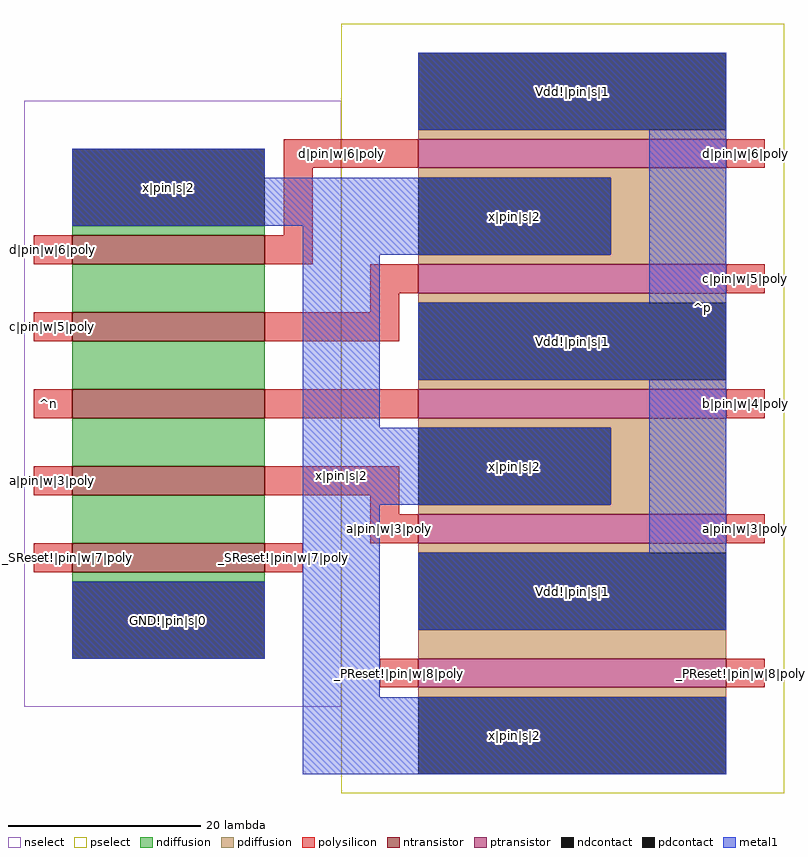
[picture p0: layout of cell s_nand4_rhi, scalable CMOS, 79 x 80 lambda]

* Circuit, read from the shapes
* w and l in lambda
.subckt s_nand4_rhi GND!|pin|s|0 Vdd!|pin|s|1 _PReset!|pin|w|8|poly _SReset!|pin|w|7|poly a|pin|w|3|poly b|pin|w|4|poly c|pin|w|5|poly d|pin|w|6|poly x|pin|s|2
M1 n1 _SReset!|pin|w|7|poly GND!|pin|s|0 VSUBS nfet w=20 l=3
M2 n2 a|pin|w|3|poly n1 VSUBS nfet w=20 l=3
M3 n3 b|pin|w|4|poly n2 VSUBS nfet w=20 l=3
M4 n4 c|pin|w|5|poly n3 VSUBS nfet w=20 l=3
M5 x|pin|s|2 d|pin|w|6|poly n4 VSUBS nfet w=20 l=3
M6 Vdd!|pin|s|1 _PReset!|pin|w|8|poly x|pin|s|2 NWELL pfet w=32 l=3
M7 x|pin|s|2 a|pin|w|3|poly Vdd!|pin|s|1 NWELL pfet w=32 l=3
M8 Vdd!|pin|s|1 b|pin|w|4|poly x|pin|s|2 NWELL pfet w=32 l=3
M9 x|pin|s|2 c|pin|w|5|poly Vdd!|pin|s|1 NWELL pfet w=32 l=3
M10 Vdd!|pin|s|1 d|pin|w|6|poly x|pin|s|2 NWELL pfet w=32 l=3
.ends

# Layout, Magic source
magic
tech scmos
<< nselect >>
rect -33 27 0 90
<< pselect >>
rect 0 18 46 98
<< ndiffusion >>
rect -28 76 -8 77
rect -28 68 -8 73
rect -28 60 -8 65
rect -28 52 -8 57
rect -28 44 -8 49
rect -28 40 -8 41
<< pdiffusion >>
rect 8 86 40 87
rect 8 82 40 83
rect 28 74 40 82
rect 8 73 40 74
rect 8 69 40 70
rect 8 60 40 61
rect 8 56 40 57
rect 28 48 40 56
rect 8 47 40 48
rect 8 43 40 44
rect 8 32 40 35
rect 8 28 40 29
<< ntransistor >>
rect -28 73 -8 76
rect -28 65 -8 68
rect -28 57 -8 60
rect -28 49 -8 52
rect -28 41 -8 44
<< ptransistor >>
rect 8 83 40 86
rect 8 70 40 73
rect 8 57 40 60
rect 8 44 40 47
rect 8 29 40 32
<< polysilicon >>
rect -6 83 8 86
rect 40 83 44 86
rect -6 76 -3 83
rect -32 73 -28 76
rect -8 73 -3 76
rect 3 70 8 73
rect 40 70 44 73
rect 3 68 6 70
rect -32 65 -28 68
rect -8 65 6 68
rect -32 57 -28 60
rect -8 57 8 60
rect 40 57 44 60
rect -32 49 -28 52
rect -8 49 6 52
rect 3 47 6 49
rect 3 44 8 47
rect 40 44 44 47
rect -32 41 -28 44
rect -8 41 -4 44
rect 4 29 8 32
rect 40 29 44 32
<< ndcontact >>
rect -28 77 -8 85
rect -28 32 -8 40
<< pdcontact >>
rect 8 87 40 95
rect 8 74 28 82
rect 8 61 40 69
rect 8 48 28 56
rect 8 35 40 43
rect 8 20 40 28
<< metal1 >>
rect 8 87 40 95
rect -28 82 -8 85
rect -28 77 28 82
rect -4 74 28 77
rect -4 56 4 74
rect 32 69 40 87
rect 8 61 40 69
rect -4 48 28 56
rect -28 32 -8 40
rect -4 28 4 48
rect 32 43 40 61
rect 8 35 40 43
rect -4 20 40 28
<< labels >>
rlabel space 28 39 47 98 3 ^p
rlabel space -33 26 -28 91 7 ^n
rlabel metal1 8 61 40 69 1 Vdd!|pin|s|1
rlabel metal1 -4 20 4 82 1 x|pin|s|2
rlabel metal1 -28 77 -8 85 1 x|pin|s|2
rlabel metal1 8 74 28 82 1 x|pin|s|2
rlabel metal1 8 48 28 56 1 x|pin|s|2
rlabel metal1 -4 20 40 28 1 x|pin|s|2
rlabel polysilicon 40 44 44 47 1 a|pin|w|3|poly
rlabel polysilicon 3 44 7 47 1 a|pin|w|3|poly
rlabel polysilicon -32 49 -28 52 1 a|pin|w|3|poly
rlabel polysilicon 40 57 44 60 1 b|pin|w|4|poly
rlabel polysilicon -32 57 -28 60 1 b|pin|w|4|poly
rlabel polysilicon 40 70 44 73 1 c|pin|w|5|poly
rlabel polysilicon -32 65 -28 68 1 c|pin|w|5|poly
rlabel polysilicon 40 83 44 86 1 d|pin|w|6|poly
rlabel polysilicon -2 83 2 86 1 d|pin|w|6|poly
rlabel polysilicon -32 73 -28 76 1 d|pin|w|6|poly
rlabel polysilicon -32 41 -28 44 1 _SReset!|pin|w|7|poly
rlabel polysilicon -8 41 -4 44 1 _SReset!|pin|w|7|poly
rlabel polysilicon 4 29 8 32 1 _PReset!|pin|w|8|poly
rlabel polysilicon 40 29 44 32 1 _PReset!|pin|w|8|poly
rlabel metal1 32 43 40 95 1 Vdd!|pin|s|1
rlabel metal1 -28 32 -8 40 1 GND!|pin|s|0
rlabel metal1 8 87 40 95 1 Vdd!|pin|s|1
rlabel metal1 8 35 40 43 1 Vdd!|pin|s|1
<< end >>
